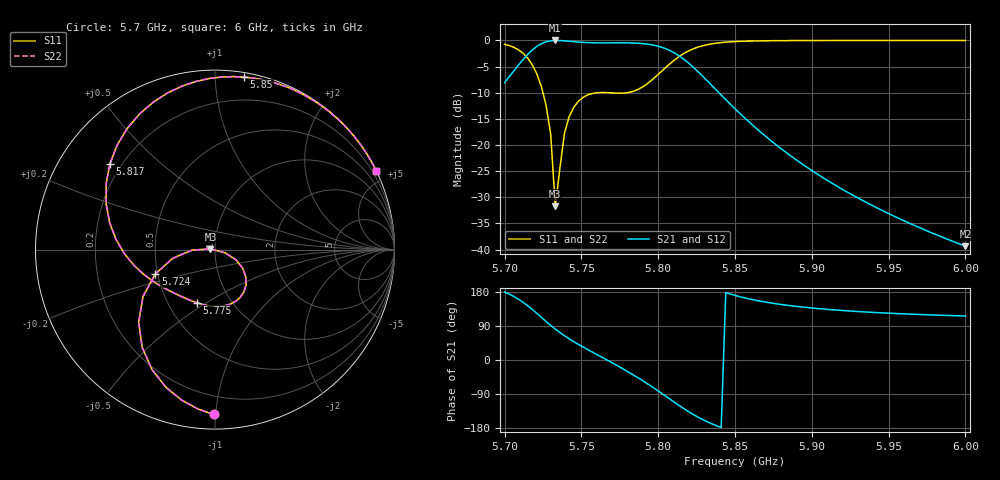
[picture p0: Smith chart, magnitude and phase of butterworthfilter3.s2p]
# GHz S MA R 50
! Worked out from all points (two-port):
!   101 points, 5.7 GHz to 6 GHz, reference 50 ohm
!   highest |S21| = 0.00 dB at 5.733 GHz (marker M1); lowest = -39.4 dB at 6 GHz (marker M2)
!   |S21| within 3 dB of the highest: 5.714 GHz to 5.8139 GHz (99.86 MHz wide, 1.73 % of centre)
!   lowest |S11| = -31.8 dB at 5.733 GHz (marker M3), VSWR 1.05, Z = 47.5 + j0.363 ohm
!   |S11| at or under -10 dB: 5.725 GHz to 5.7602 GHz (35.24 MHz wide, 0.614 % of centre); 5.767963 GHz to 5.779482 GHz (11.52 MHz wide, 0.2 % of centre)
!   |S22| runs from -31.8 to 0.0 dB; largest |S21 - S12| = 0
!   S11 on the Smith chart (normalised r, x): 5.7 GHz: 0.08, -0.99; 5.724 GHz: 0.49, -0.15; 5.775 GHz: 0.70, -0.46; 5.817 GHz: 0.16, +0.35; 5.85 GHz: 0.03, +1.18; 6 GHz: 0.00, +4.31
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5.7  0.9187 -90.4  0.395 179.6  0.395 179.6  0.9187 -90.4
5.709  0.8144 -109.6  0.5803 160.4  0.5803 160.4  0.8144 -109.6
5.715  0.6791 -126.7  0.7341 143.3  0.7341 143.3  0.6791 -126.7
5.724  0.3595 -157.7  0.9331 112.3  0.9331 112.3  0.3595 -157.7
5.727  0.24 -168.4  0.9708 101.6  0.9708 101.6  0.24 -168.4
5.73  0.1268 -178.7  0.9919 91.3  0.9919 91.3  0.1268 -178.7
5.733  0.02585 171.5  0.9997 81.5  0.9997 81.5  0.02585 171.5
5.739  0.1304 -26.1  0.9915 63.9  0.9915 63.9  0.1304 -26.1
5.745  0.2294 -41.5  0.9733 48.5  0.9733 48.5  0.2294 -41.5
5.751  0.285 -55.5  0.9585 34.5  0.9585 34.5  0.285 -55.5
5.763  0.3179 -81.9  0.9481 8.1  0.9481 8.1  0.3179 -81.9
5.775  0.3129 -108.6  0.9498 -18.6  0.9498 -18.6  0.3129 -108.6
5.79  0.3606 -144.9  0.9327 -54.9  0.9327 -54.9  0.3606 -144.9
5.802  0.5042 -177.2  0.8636 -87.2  0.8636 -87.2  0.5042 -177.2
5.811  0.6577 157.3  0.7533 -112.7  0.7533 -112.7  0.6577 157.3
5.817  0.7551 140.9  0.6556 -129.1  0.6556 -129.1  0.7551 140.9
5.832  0.9119 106.8  0.4104 -163.2  0.4104 -163.2  0.9119 106.8
5.85  0.975 80.4  0.2223 170.4  0.2223 170.4  0.975 80.4
5.871  0.9931 62.1  0.1176 152.1  0.1176 152.1  0.9931 62.1
5.901  0.9984 46.9  0.0558 136.9  0.0558 136.9  0.9984 46.9
5.952  0.9998 33.2  0.02138 123.2  0.02138 123.2  0.9998 33.2
6  0.9999 26.1  0.01077 116.1  0.01077 116.1  0.9999 26.1
